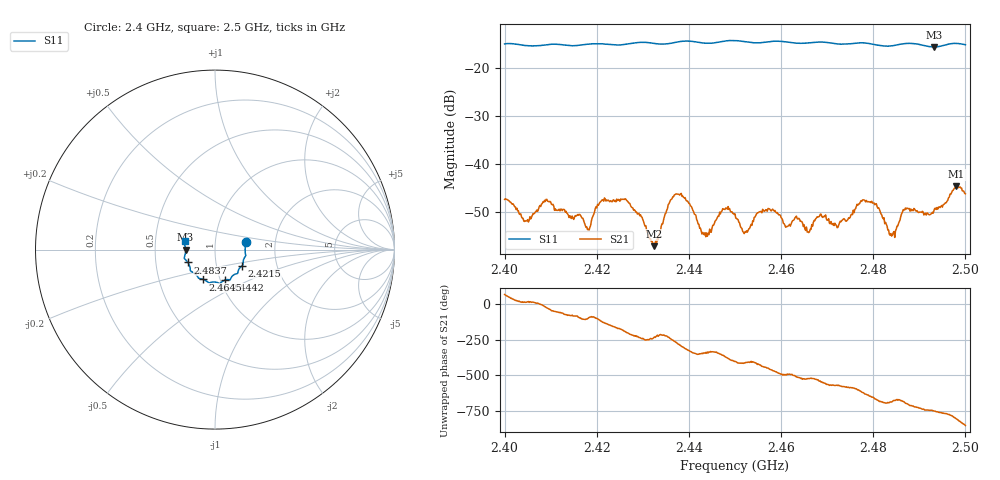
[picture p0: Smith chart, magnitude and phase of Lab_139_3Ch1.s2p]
# Hz S RI R 50
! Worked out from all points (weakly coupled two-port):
!   601 points, 2.4 GHz to 2.5 GHz, reference 50 ohm
!   highest |S21| = -44.75 dB at 2.498 GHz (marker M1); lowest = -57.2 dB at 2.4325 GHz (marker M2)
!   lowest |S11| = -15.7 dB at 2.4932 GHz (marker M3), VSWR 1.39, Z = 35.9 - j0.0583 ohm
!   |S11| at or under -10 dB: start of sweep to end of sweep
!   S12 and S22 are empty: the file has one direction only
!   S11 on the Smith chart (normalised r, x): 2.4 GHz: 1.41, +0.12; 2.4215 GHz: 1.33, -0.25; 2.4442 GHz: 1.05, -0.37; 2.4645 GHz: 0.83, -0.29; 2.4837 GHz: 0.73, -0.11; 2.5 GHz: 0.71, +0.07
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2.4e9  0.1714 0.0401  0.00187 0.00381  0 0  0 0
2.404667e9  0.1684 0.013  0.0025 0.000426  0 0  0 0
2.409167e9  0.1704 -0.0261  0.00372 -0.00206  0 0  0 0
2.416667e9  0.1569 -0.0699  -0.000764 -0.00268  0 0  0 0
2.418167e9  0.1556 -0.08  -0.000363 -0.00205  0 0  0 0
2.4215e9  0.151 -0.0896  -0.00263 -0.00311  0 0  0 0
2.426667e9  0.1291 -0.1189  -0.00376 0.00158  0 0  0 0
2.4325e9  0.1144 -0.1362  -0.000849 0.0011  0 0  0 0
2.433333e9  0.1083 -0.1384  -0.0011 0.00118  0 0  0 0
2.437333e9  0.0876 -0.1615  0.000211 0.00484  0 0  0 0
2.444167e9  0.0566 -0.1694  0.00181 0.000555  0 0  0 0
2.45e9  0.0253 -0.1891  0.00222 -0.00201  0 0  0 0
2.452167e9  0.0166 -0.1847  0.00116 -0.00157  0 0  0 0
2.4645e9  -0.0658 -0.166  -0.00234 -0.000853  0 0  0 0
2.466667e9  -0.0826 -0.1621  -0.0022 -0.000736  0 0  0 0
2.478e9  -0.1379 -0.1163  -0.000484 0.00417  0 0  0 0
2.483333e9  -0.1491 -0.075  0.00178 0.000988  0 0  0 0
2.483667e9  -0.151 -0.0718  0.00147 0.00104  0 0  0 0
2.487e9  -0.1703 -0.0508  0.00312 0.0015  0 0  0 0
2.493167e9  -0.1636 -0.00079  0.00286 -0.00151  0 0  0 0
2.498e9  -0.1736 0.0404  0.000826 -0.00573  0 0  0 0
2.5e9  -0.1652 0.0505  -0.00303 -0.0038  0 0  0 0
